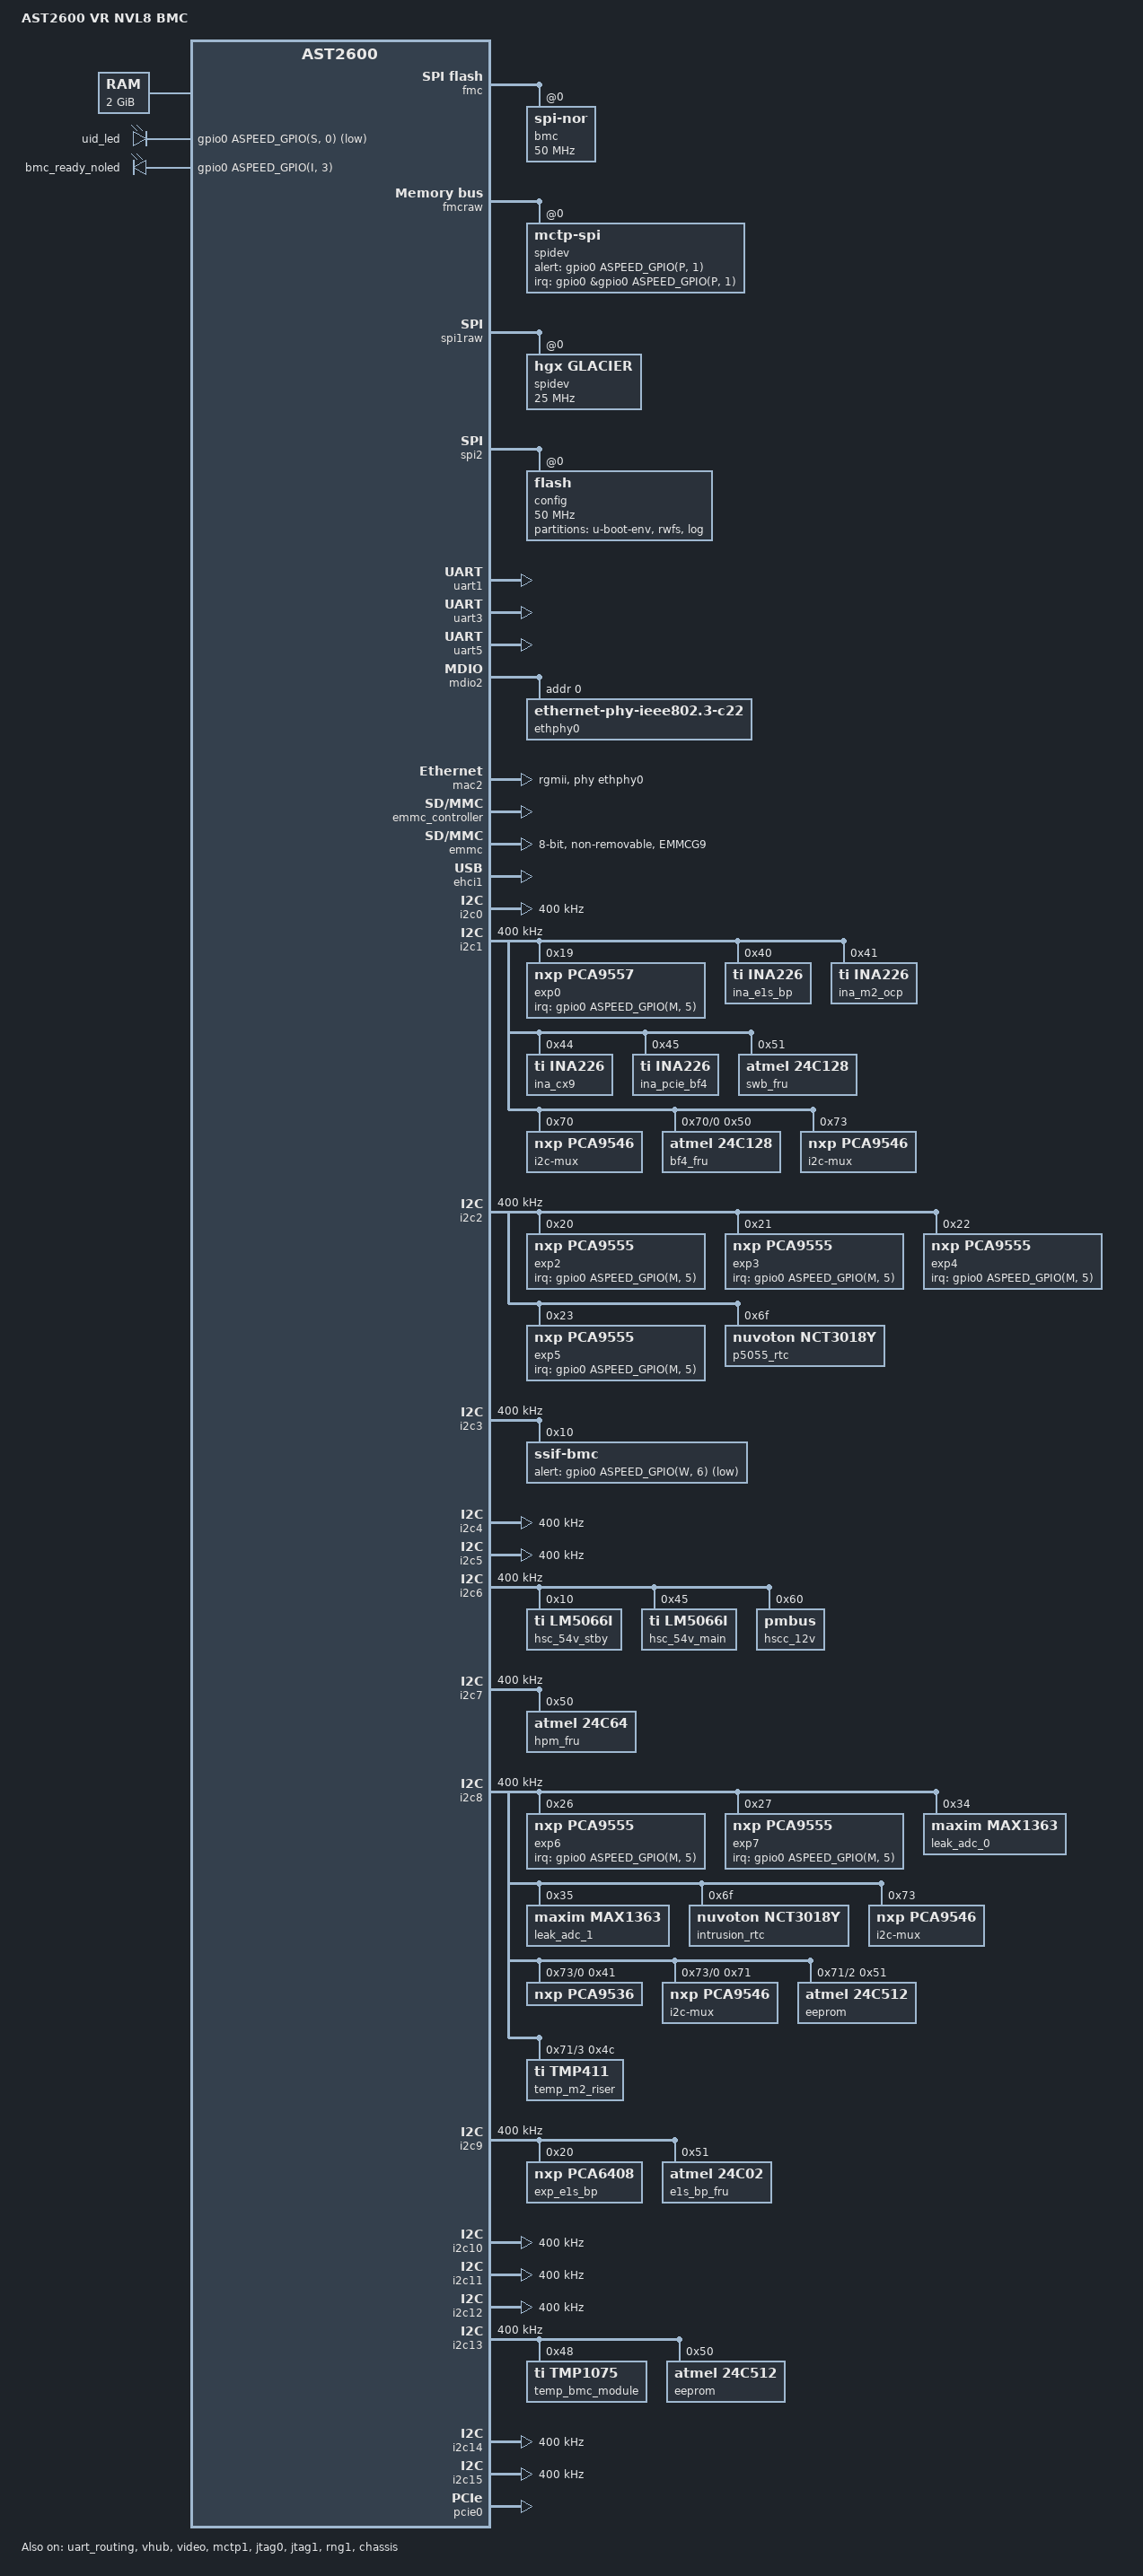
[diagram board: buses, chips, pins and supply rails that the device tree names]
// SPDX-License-Identifier: GPL-2.0+
/dts-v1/;

#include "aspeed-g6.dtsi"
#include <dt-bindings/gpio/aspeed-gpio.h>
#include <dt-bindings/i2c/i2c.h>
#include <dt-bindings/leds/common.h>

/ {
    model = "AST2600 VR NVL8 BMC";
    compatible = "aspeed,ast2600";

    aliases {
        serial2 = &uart3;
        serial4 = &uart5;

        i2c16 = &i2c_bf4_fru;            /* I2C2 (&i2c1) PCA9546 0x70 ch0: BF4 FRU */
        i2c17 = &i2c_bf4_fru_mux_ch1;    /* I2C2 (&i2c1) PCA9546 0x70 ch1: unused */
        i2c18 = &i2c_bf4_fru_mux_ch2;    /* I2C2 (&i2c1) PCA9546 0x70 ch2: unused */
        i2c19 = &i2c_bf4_fru_mux_ch3;    /* I2C2 (&i2c1) PCA9546 0x70 ch3: unused */

        i2c20 = &i2c_cx9_0_gw0;          /* I2C2 (&i2c1) PCA9546 0x73 ch0: CX9_0 GW0 */
        i2c21 = &i2c_cx9_1_gw0;          /* I2C2 (&i2c1) PCA9546 0x73 ch1: CX9_1 GW0 */
        i2c22 = &i2c_cx9_mux_ch2;        /* I2C2 (&i2c1) PCA9546 0x73 ch2: unused */
        i2c23 = &i2c_cx9_mux_ch3;        /* I2C2 (&i2c1) PCA9546 0x73 ch3: unused */

        i2c24 = &i2c_m2_riser_mgmt;      /* I2C9 (&i2c8) PCA9546 0x73 ch0: M.2 Riser cascade + PCA9536 0x41 */
        i2c25 = &i2c_i2c9_cascade_ch1;   /* I2C9 (&i2c8) PCA9546 0x73 ch1: unused */
        i2c26 = &i2c_i2c9_cascade_ch2;   /* I2C9 (&i2c8) PCA9546 0x73 ch2: unused */
        i2c27 = &i2c_cx9_rclk_buf;       /* I2C9 (&i2c8) PCA9546 0x73 ch3: LMK1104 CX9 Rclk buffer */

        i2c28 = &i2c_m2_0;               /* I2C9 (&i2c8) -> 0x73 ch0 -> 0x71 ch0: M.2 SSD_0 */
        i2c29 = &i2c_m2_1;               /* I2C9 (&i2c8) -> 0x73 ch0 -> 0x71 ch1: M.2 SSD_1 */
        i2c30 = &i2c_m2_riser_fru;       /* I2C9 (&i2c8) -> 0x73 ch0 -> 0x71 ch2: M.2 board FRU EEPROM 24512 @ 0x51 */
        i2c31 = &i2c_m2_riser_temp;      /* I2C9 (&i2c8) -> 0x73 ch0 -> 0x71 ch3: TMP411 temp sensor @ 0x4C */
    };

    chosen {
        stdout-path = &uart5;
        bootargs = "console=tty0 console=ttyS4,115200n8 earlyprintk";
    };

    memory@80000000 {
        device_type = "memory";
        reg = <0x80000000 0x80000000>;
    };

    reserved-memory {
        #address-cells = <1>;
        #size-cells = <1>;
        ranges;

        vga_memory: framebuffer@9f000000 {
            reg = <0x9f000000 0x01000000>; /* 16M */
            no-map;
        };

        ramoops@a0000000 {
            compatible = "ramoops";
            reg = <0xa0000000 0x100000>; /* 1MB */
            record-size = <0x10000>; /* 64KB */
            max-reason = <2>; /* KMSG_DUMP_OOPS */
        };

        gfx_memory: framebuffer {
            compatible = "shared-dma-pool";
            size = <0x01000000>;
            alignment = <0x01000000>;
            reusable;
        };

        video_engine_memory: jpegbuffer {
            compatible = "shared-dma-pool";
            size = <0x02000000>;	/* 32M */
            alignment = <0x01000000>;
            reusable;
        };
    };

    leds {
        compatible = "gpio-leds";

        uid_led {
            gpios = <&gpio0 ASPEED_GPIO(S, 0) GPIO_ACTIVE_LOW>;
        };

        /*
         * No physical LED. The gpio-leds driver claims BMC_READY-O so
         * userspace can drive it via /sys/class/leds/bmc_ready_noled/brightness
         * (asserted by bmc_ready.sh once platform-init completes).
         */
        bmc_ready_noled {
            gpios = <&gpio0 ASPEED_GPIO(I, 3) (GPIO_ACTIVE_HIGH | GPIO_TRANSITORY)>;
        };
    };

    buttons {
        power-btn {
            gpio = <&gpio0 ASPEED_GPIO(V, 0) GPIO_ACTIVE_LOW>;
        };

        uid-btn {
            gpio = <&gpio0 ASPEED_GPIO(E, 3) GPIO_ACTIVE_LOW>;
        };
    };
};

/*
 * gpio-line-names are the combination of <signal>-<I/O>; "" is the placeholder for unused pins.
 * 208 (26*8) 3.3V GPIOs on gpio0; 36 1.8V GPIOs on gpio1.
 */
&gpio0 {
    gpio-line-names =
        /*A0-A7*/
        "",
        "",
        "",
        "",
        "",
        "",
        "",
        "",

        /*B0-B7*/
        "",
        "",
        "BIOS_EROT_WP-O",
        "",
        "",
        "",
        "GPU_BASE_HMC_OVERT_L-I",
        "CEC2_NRESET_IN_N-O",

        /*C0-C7*/
        "",
        "",
        "",
        "",
        "",
        "",
        "",
        "",

        /*D0-D7*/
        "",
        "",
        "",
        "",
        "HPM_DETECT-I",
        "",
        "",
        "CPLD_PROG_STAT-I",

        /*E0-E7*/
        "BMC_RST_DET-I",
        "",
        "GPU_BASE_PRSNT_N-I",
        "UID_BTN_L-I", /* schematic: UID_SWITCH */
        "",
        "",
        "",
        "CPLD_INT_N-I",

        /*F0-F7*/
        "",
        "PWRGD_P3V3-I",
        "",
        "",
        "",
        "",
        "",
        "",

        /*G0-G7*/
        "HGX_LEAK_DET_L-I",
        "GPIO_GPU_BASE_RSVD3-I",
        "HGX_LEAK_SENSOR_FAULT_L-I",
        "GPIO_GPU_BASE_RSVD4-I",
        "",
        "",
        "GPU_BASE_HMC_EROT_RST_N-O",
        "GPU_ALL_BMC_TH_OVERT_N-I",

        /*H0-H7*/
        "",
        "",
        "",
        "",
        "",
        "",
        "",
        "",

        /*I0-I7*/
        "GPU_PWROK-I",
        "FRU_WP-O",
        "",
        "BMC_READY-O",
        "",
        "",
        "",
        "",

        /*J0-J7*/
        "",
        "",
        "",
        "",
        "",
        "",
        "",
        "",

        /*K0-K7*/
        "",
        "",
        "",
        "",
        "",
        "",
        "",
        "",

        /*L0-L7*/
        "",
        "",
        "",
        "",
        "FM_JTAG_TCK_MUX_SEL_R-O",
        "",
        "",
        "",

        /*M0-M7*/
        "CPU_RST_L-I",
        "",
        "",
        "CPLD_PWRBTN_N-I",
        "BMC_RST_BTN_N-I",
        "BASEBOARD_ALERT_N-I",
        "",
        "",

        /*N0-N7*/
        "CPU0_CHIPTHROT_N_SGPIO-I",
        "",
        "",
        "",
        "",
        "",
        "",
        "AC_POWER_CYCLE_N-O", /* similar to BMC_STBY_CYCLE-O on other platforms */

        /*O0-O7*/
        "",
        "",
        "GPU_BASE_HMC_PRSNT_N-I",
        "",
        "GPU_BASE_HMC_READY-I",
        "",
        "",
        "",

        /*P0-P7*/
        "BMC_PHY_RST_N-O",
        "CEC1_SP0_AP_INTR_N-I",
        "EROT_FATAL_ERROR_N-I",
        "CEC1_RST_MON_AP_RST_REQ_N-O",
        "CEC1_AP_EROT_REQ_N-O",
        "CEC1_EROT_AP_GNT_N-I",
        "",
        "",

        /*Q0-Q7*/
        "GPU_BASE_CPLD_READY-I",
        "",
        "",
        "",
        "",
        "",
        "MID_SYSTEM_READY-I",
        "RUN_POWER_PG_SGPIO-I",

        /*R0-R7*/
        "GPU1_INT_BMC_MCU2_N-I",
        "GPU1_INT_BMC_MCU1_N-I",
        "",
        "CPLD_ALERT_N-I",
        "GPU_PWR_BRAKE_L-O",
        "",
        "",
        "",

        /*S0-S7*/
        "BMC_UID_LED-O",
        "",
        "BMC_PE_WAKE_N-I",
        "",
        "",
        "",
        "BMC_HEARTBEAT-O",
        "",

        /*T0-T7*/
        "",
        "",
        "",
        "",
        "",
        "",
        "",
        "",

        /*U0-U7*/
        "",
        "",
        "",
        "",
        "",
        "",
        "",
        "",

        /*V0-V7*/
        "PWR_BTN_L-I", /* schematic: BMC_PWR_BTN_R_N */
        "",
        "",
        "BMC_CPLD_BOOT_N-I",
        "",
        "",
        "",
        "",

        /*W0-W7*/
        "",
        "",
        "",
        "",
        "",
        "",
        "I2C_BMC_SSIF_ALERT_L-O",
        "",

        /*X0-X7*/
        "",
        "",
        "SGPIO_BOOT_COMPLETE-I",
        "",
        "",
        "",
        "",
        "",

        /*Y0-Y7*/
        "",
        "",
        "CEC1_WDTRST-O",
        "PWRBTN_DISABLE-O",
        "",
        "",
        "",
        "",

        /*Z0-Z7*/
        "",
        "",
        "",
        "",
        "",
        "",
        "",
        "";
};

&gpio1 {
    gpio-line-names =
        /*A0-A7*/
        "",
        "",
        "",
        "GPU_BASE_CEC_RECOV_N-O",
        "",
        "",
        "",
        "GPU_BASE_HMC_EROT_FATALERR_N-I",

        /*B0-B7*/
        "",
        "",
        "",
        "",
        "",
        "",
        "",
        "",

        /*C0-C7*/
        "",
        "",
        "",
        "",
        "",
        "",
        "",
        "",

        /*D0-D7*/
        "",
        "",
        "",
        "",
        "",
        "",
        "",
        "",

        /*E0-E3*/
        "",
        "",
        "",
        "";
};

// EMMC group that excludes WP & CD pin
&pinctrl {
    pinctrl_emmcg9_default: emmcg9_default {
        function = "EMMC";
        groups = "EMMCG9";
    };
};

// Enabled Primary flash on FMC for bring up activity
&fmc {
    status = "okay";

    flash@0 {
        compatible = "jedec,spi-nor";
        label = "bmc";
        spi-max-frequency = <50000000>;
        status = "okay";
#include "aspeed-bmc-nvidia-gh-flash-layout-64.dtsi"
    };
};

&fmcraw {
    status = "okay";

    spidev@0 {
        compatible = "mctp-spi";
        interrupt-parent = <&gpio0>;
        interrupts = <&gpio0 ASPEED_GPIO(P, 1) GPIO_ACTIVE_HIGH>;
        alert-gpio = <&gpio0 ASPEED_GPIO(P, 1) GPIO_ACTIVE_HIGH>;
        status = "okay";
    };
};

&spi1raw {
    pinctrl-names = "default";
    pinctrl-0 = <&pinctrl_spi1_default>;
    status = "okay";

    spidev@0 {
        compatible = "hgx,glacier";
        spi-max-frequency = <25000000>;
        status = "okay";
    };
};

&spi2 {
    pinctrl-names = "default";
    pinctrl-0 = <&pinctrl_spi2_default>;
    status = "okay";

    // Data SPI is 64MB in size
    flash@0 {
        label = "config";
        spi-max-frequency = <50000000>;
        status = "okay";

        partitions {
            compatible = "fixed-partitions";
            #address-cells = <1>;
            #size-cells = <1>;

            u-boot-env@0 {
                reg = <0x0 0x40000>;            // 256KB at offset 0
                label = "u-boot-env";
            };

            rwfs@40000 {
                reg = <0x40000 0x1000000>;      // 16MB at offset 0x40000
                label = "rwfs";
            };

            log@0x1040000 {
                reg = <0x1040000 0x2800000>;    // 40MB at offset 0x1040000
                label = "log";                  // Move log to EMMC, make this unused
            };
        };
    };
};

&uart1 {
    status = "okay";
};

&uart3 {
    // Enabling SOL
    status = "okay";
};

&uart5 {
    // BMC Debug Console
    status = "okay";
};

&uart_routing {
    status = "okay";
};

// MAC3 (per schematics, 1-based MAC1-MAC4) of AST2600 connected to external PHY
// This is "mac2" in zero-based DTS
&mdio2 {
    status = "okay";

    ethphy0: ethernet-phy@0 {
        compatible = "ethernet-phy-ieee802.3-c22";
        reg = <0>;
    };
};

&mac2 {
    pinctrl-names = "default";
    pinctrl-0 = <&pinctrl_rgmii3_default>;
    phy-mode = "rgmii";
    phy-handle = <&ethphy0>;
    max-speed = <1000>;
    status = "okay";
};

// Enable emmc
&emmc_controller {
    status = "okay";
};

&emmc {
    pinctrl-0 = <&pinctrl_emmcg9_default>;
    bus-width = <8>;
    max-frequency = <52000000>;
    clk-phase-mmc-hs200 = <9>, <225>;
    non-removable;
};

/*
 * Enable USB port A as device (via the virtual hub) to host
 */
&vhub {
    pinctrl-names = "default";
    /*
     * Uncomment below line to enable internal EHCI controller.
     * Current config uses xHCI Port1.
     */
    // pinctrl-0 = <&pinctrl_usb2adp_default>;
    status = "okay";
};

&video {
    memory-region = <&video_engine_memory>;
    status = "okay";
};

// USB 2.0, BF4 NIC CP2112 GPIO bridges on USB Port B
&ehci1 {
    status = "okay";

    /*
     * BMC-side 4-port USB hub on EHCI1 root port 1.
     * Downstream ports: 1 = Secondary HPM USB HUB (fans to USB-C header,
     * HPM MCU, CP2108 SOL, and HMC via midplane), 2 = SSD/E1.S BP MCU,
     * 3 = BF4, 4 = unused.
     */
    hub@1 {
        reg = <1>;

        /* BF4 internal 4-port hub: ports 1=MCU, 2=CP2112, 3=DPU BMC, 4=unused */
        hub@3 {
            reg = <3>;

            device@2 {
                reg = <2>;

                cp2112: interface@1 {
                    reg = <1 1>;
                    gpio-controller;
                    #gpio-cells = <2>;
                    gpio-line-names =
                        "BF4_USB_MCU_RECOVERY_L-O",
                        "BF4_USB_MCU_RST_L-O",
                        "BF4_USB_FORCE_FNP_L-O",
                        "BF4_GLOBAL_WP-O",
                        "BF4_FORCE_POR_L-O",
                        "BF4_BMC_EROT_RST_L-O",
                        "BF4_BMC_EROT_RECOVERY_L-O",
                        "BF4_THERM_SHUTDOWN-I";

                    i2c_bf4: i2c {
                        #address-cells = <1>;
                        #size-cells = <0>;
                    };
                };
            };
        };
    };
};

// I2C1
&i2c0 {
    clock-frequency = <400000>;
    i2c-scl-clk-low-timeout-us = <32000>;
    i2c-tck-thddat-config = <0x0099EC00>;
    status = "okay";
};

// I2C2, SW Board IOX (PCA9557 0x19), INA226 power monitors (0x40/0x41/0x44/0x45),
//       SWB FRU EEPROM (24128 @ 0x51), PCIe clock buffers (LMKDB1104 @ 0x61/0x6C;
//       no upstream kernel driver -- documented here only),
//       BF4 FRU mux (PCA9546 0x70), CX9 management mux (PCA9546 0x73)
&i2c1 {
    clock-frequency = <400000>;
    i2c-scl-clk-low-timeout-us = <32000>;
    i2c-tck-thddat-config = <0x0099EC00>;
    status = "okay";

    // SW Board, Expander @0x19
    exp0: pca9557@19 {
        compatible = "nxp,pca9557";
        reg = <0x19>;
        #address-cells = <1>;
        #size-cells = <0>;
        gpio-controller;
        #gpio-cells = <2>;
        interrupt-controller;
        #interrupt-cells = <2>;
        interrupt-parent = <&gpio0>;
        interrupts = <ASPEED_GPIO(M, 5) IRQ_TYPE_LEVEL_LOW>;
        gpio-line-names =
            "J3MCIO_PRSNT1_N-I",
            "",
            "J9MCIO_PRSNT1_N-I",
            "",
            "USB2_HUB_RST_L-O",
            "FRU_SW_WP_N-O",
            "PCIE_PWRBRK_N-O",
            "PCIE_WAKE_N-I";
    };

    // E1.S backplane power monitor
    // TODO: shunt-resistor value TBD from HW eng; using driver default
    ina_e1s_bp: ina226@40 {
        compatible = "ti,ina226";
        reg = <0x40>;
    };

    // M.2 OCP mezz power monitor
    // TODO: shunt-resistor value TBD from HW eng
    ina_m2_ocp: ina226@41 {
        compatible = "ti,ina226";
        reg = <0x41>;
    };

    // CX9 switches power monitor
    // TODO: shunt-resistor value TBD from HW eng
    ina_cx9: ina226@44 {
        compatible = "ti,ina226";
        reg = <0x44>;
    };

    // PCIe slot (BF4) power monitor
    // TODO: shunt-resistor value TBD from HW eng
    ina_pcie_bf4: ina226@45 {
        compatible = "ti,ina226";
        reg = <0x45>;
    };

    // Switch Board FRU EEPROM (24128, 16 KB)
    swb_fru: eeprom@51 {
        compatible = "atmel,24c128";
        reg = <0x51>;
        pagesize = <64>;
    };

    // BF4 FRU mux (PCA9546 0x70 on I2C2)
    // ch0 -> BF4 FRU EEPROM; ch1/2/3 unused
    i2c-mux@70 {
        compatible = "nxp,pca9546";
        reg = <0x70>;
        #address-cells = <1>;
        #size-cells = <0>;
        i2c-mux-idle-disconnect;

        i2c_bf4_fru: i2c@0 {
            reg = <0>;
            #address-cells = <1>;
            #size-cells = <0>;

            // BF4 FRU EEPROM (24M128, 16 KB; 24c128 driver compatible)
            bf4_fru: eeprom@50 {
                compatible = "atmel,24c128";
                reg = <0x50>;
                pagesize = <64>;
            };
        };

        // ch1 unused; alias reserved for completeness
        i2c_bf4_fru_mux_ch1: i2c@1 {
            reg = <1>;
            #address-cells = <1>;
            #size-cells = <0>;
        };

        // ch2 unused; alias reserved for completeness
        i2c_bf4_fru_mux_ch2: i2c@2 {
            reg = <2>;
            #address-cells = <1>;
            #size-cells = <0>;
        };

        // ch3 unused; alias reserved for completeness
        i2c_bf4_fru_mux_ch3: i2c@3 {
            reg = <3>;
            #address-cells = <1>;
            #size-cells = <0>;
        };
    };

    // CX9 access mux (PCA9546 0x73 on I2C2)
    // ch0 -> CX9_0 GW0 @ 0x48; ch1 -> CX9_1 GW0 @ 0x48; ch2/3 unused
    // BF4 management is MCTP-over-USB and does not use an I2C mux.
    i2c-mux@73 {
        compatible = "nxp,pca9546";
        reg = <0x73>;
        #address-cells = <1>;
        #size-cells = <0>;
        i2c-mux-idle-disconnect;

        i2c_cx9_0_gw0: i2c@0 {
            reg = <0>;
            #address-cells = <1>;
            #size-cells = <0>;
            // CX9_0 GW0 endpoint at 0x48; managed by daemons, no kernel driver
        };

        i2c_cx9_1_gw0: i2c@1 {
            reg = <1>;
            #address-cells = <1>;
            #size-cells = <0>;
            // CX9_1 GW0 endpoint at 0x48; managed by daemons, no kernel driver
        };

        // ch2/ch3 unused; aliases reserved for completeness
        i2c_cx9_mux_ch2: i2c@2 {
            reg = <2>;
            #address-cells = <1>;
            #size-cells = <0>;
        };

        i2c_cx9_mux_ch3: i2c@3 {
            reg = <3>;
            #address-cells = <1>;
            #size-cells = <0>;
        };
    };
};

// I2C3, P5055 Bus 3 IOX
&i2c2 {
    clock-frequency = <400000>;
    i2c-scl-clk-low-timeout-us = <32000>;
    i2c-tck-thddat-config = <0x0099EC00>;
    status = "okay";

    // P5055 Bus 3, Expander @0x20
    exp2: pca9555@20 {
        compatible = "nxp,pca9555";
        reg = <0x20>;
        #address-cells = <1>;
        #size-cells = <0>;
        gpio-controller;
        #gpio-cells = <2>;
        interrupt-controller;
        #interrupt-cells = <2>;
        interrupt-parent = <&gpio0>;
        interrupts = <ASPEED_GPIO(M, 5) IRQ_TYPE_LEVEL_LOW>;
        gpio-line-names =
            "SHDN_FORCE_L-O",
            "",
            "THERM_OVERT_L-I",
            "THERM_WARN_L-I",
            "GLOBAL_WP-O",
            "USB_HUB0_RST_L-O",
            "PRE_SYS_RST_L-O",
            "LEAK_DETECT_ALERT_L-I",
            "RUN_POWER_EN-O",
            "RUN_POWER_PG-I",
            "CPU_CHIPTHROT_L-I",
            "SHDN_REQ_L-O",
            "CPU_SHDN_OK_L-I",
            "CPLD_READY-I",
            "PWR_BRAKE_L-O",
            "PWR_BRAKE_STATUS_L-I";
    };

    // P5055 Bus 3, Expander @0x21
    exp3: pca9555@21 {
        compatible = "nxp,pca9555";
        reg = <0x21>;
        #address-cells = <1>;
        #size-cells = <0>;
        gpio-controller;
        #gpio-cells = <2>;
        interrupt-controller;
        #interrupt-cells = <2>;
        interrupt-parent = <&gpio0>;
        interrupts = <ASPEED_GPIO(M, 5) IRQ_TYPE_LEVEL_LOW>;
        gpio-line-names =
            "",
            "HPM_MCU_OK-I",
            "CPU_L0_RST_IND_L-I",
            "SOCAMM_DAC_SEL0-O",
            "SOCAMM_DAC_SEL1-O",
            "C0_SOCAMM_I2C_SEL_R-O",
            "C1_SOCAMM_I2C_SEL_R-O",
            "EEPROM_POWER_DISABLE-O",
            "L0L1_RST_L-I",
            "L2_RST_L-I",
            "BRD_ID_0-I",
            "BRD_ID_1-I",
            "LEAK_TEST_L-O",
            "MCU_BMC_ALERT_L-I",
            "CPU_BOOT_COMPLETE-I",
            "";
    };

    // P5055 Bus 3, Expander @0x22
    exp4: pca9555@22 {
        compatible = "nxp,pca9555";
        reg = <0x22>;
        #address-cells = <1>;
        #size-cells = <0>;
        gpio-controller;
        #gpio-cells = <2>;
        interrupt-controller;
        #interrupt-cells = <2>;
        interrupt-parent = <&gpio0>;
        interrupts = <ASPEED_GPIO(M, 5) IRQ_TYPE_LEVEL_LOW>;
        gpio-line-names =
            "HPM_MCU_RESET_L-O",
            "HPM_MCU_REC_L-O",
            "HGX_MCU_RESET_L-O",
            "HGX_MCU_REC_L-O",
            "HSC_AND_HSCC_ALERT_L-I",
            "OCP1_RIS_PRSNT_L-I",
            "RTC_CLR_L-O",
            "",
            "",
            "MCU_ALERT_L-I",
            "SNN_USB_HMC_HUB_RST_L-O",
            "HGX_STBY_EN_BMC-O",
            "",
            "CPLD_AUTH_FAIL_L-I",
            "",
            "SNN_PWR_BRAKE_STATUS_L-I";
    };

    // P5055 Bus 3, Expander @0x23
    exp5: pca9555@23 {
        compatible = "nxp,pca9555";
        reg = <0x23>;
        #address-cells = <1>;
        #size-cells = <0>;
        gpio-controller;
        #gpio-cells = <2>;
        interrupt-controller;
        #interrupt-cells = <2>;
        interrupt-parent = <&gpio0>;
        interrupts = <ASPEED_GPIO(M, 5) IRQ_TYPE_LEVEL_LOW>;
        gpio-line-names =
            "CPU_FORCED_RECOVERY_L-O",
            "CPU_BOOT_DEV_SEL0-O",
            "CPU_BOOT_DEV_SEL1-O",
            "CPU_BOOT_DEV_SEL2-O",
            "",
            "CPU_RECOVERY_TYPE0-O",
            "CPU_RECOVERY_TYPE1-O",
            "CPU_IST_BOOT_HMC-O",
            "CPU_BOOT_CHAIN0-O",
            "",
            "HPM_MCU_I2C_ENABLE-O",
            "CPU_DIE_SEL0-O",
            "CPU_DIE_SEL1-O",
            "CPU_DIE_SEL2-O",
            "",
            "NVJTAG_SEL-O";
    };

    // P5055 Bus 3 RTC (NCT3018Y); 0x57 = SRAM (kernel-unbound), 0x6F = time registers
    p5055_rtc: rtc@6f {
        compatible = "nuvoton,nct3018y";
        reg = <0x6f>;
    };
};

// I2C4, SSIF channel BMC <-> CPU0
&i2c3 {
    disable-master = <1>;
    clock-frequency = <400000>;
    i2c-scl-clk-low-timeout-us = <128000>;
    i2c-tck-thddat-config = <0x0099EC00>;
    tout-baseclk-div = <4096>;
    status = "okay";

    ssif-bmc@10 {
        compatible = "ssif-bmc";
        reg = <0x10>;
        pulse_width_us = <5>;
        timeout_ms = <4995>;
        alert-gpio = <&gpio0 ASPEED_GPIO(W, 6) GPIO_ACTIVE_LOW>;
    };
};

// I2C5, routes through midplane to HMC P2312 I2C1 input
&i2c4 {
    clock-frequency = <400000>;
    i2c-scl-clk-low-timeout-us = <32000>;
    i2c-tck-thddat-config = <0x0099EC00>;
    status = "okay";
};

// I2C6, routes through midplane to HMC P2312 I2C2 input
&i2c5 {
    clock-frequency = <400000>;
    i2c-scl-clk-low-timeout-us = <32000>;
    i2c-tck-thddat-config = <0x0099EC00>;
    status = "okay";
};

// I2C7, HSCs (12V HSCC, 54V_STBY HSC, 54V_MAIN HSC) -- 3x LM5066I
&i2c6 {
    clock-frequency = <400000>;
    i2c-scl-clk-low-timeout-us = <32000>;
    i2c-tck-thddat-config = <0x0099EC00>;
    status = "okay";

    hsc_54v_stby: lm5066i@10 {
        compatible = "ti,lm5066i";
        reg = <0x10>;
    };

    hsc_54v_main: lm5066i@45 {
        compatible = "ti,lm5066i";
        reg = <0x45>;
    };

    // 12V HSCC is a Renesas RAA2280; using generic "pmbus" compatible
    // until a chip-specific driver is available upstream
    hscc_12v: hsc@60 {
        compatible = "pmbus";
        reg = <0x60>;
    };
};

// I2C8, chassis FRU 0x50, ISO/MCU MCXN556, CPLD Lattice MachX02
&i2c7 {
    clock-frequency = <400000>;
    i2c-scl-clk-low-timeout-us = <32000>;
    i2c-tck-thddat-config = <0x0099EC00>;
    status = "okay";

    // HPM FRU EEPROM (24AA64, 8 KB)
    hpm_fru: eeprom@50 {
        compatible = "atmel,24c64";
        reg = <0x50>;
        pagesize = <32>;
    };
};

// I2C9, SW Board IOX (CX0, CX1), MAX1363s, RTC, cascade parent mux (PCA9546 0x73)
&i2c8 {
    clock-frequency = <400000>;
    i2c-scl-clk-low-timeout-us = <32000>;
    i2c-tck-thddat-config = <0x0099EC00>;
    status = "okay";

    // SW Board IOX, CX0 Expander @0x26
    exp6: pca9555@26 {
        compatible = "nxp,pca9555";
        reg = <0x26>;
        #address-cells = <1>;
        #size-cells = <0>;
        gpio-controller;
        #gpio-cells = <2>;
        interrupt-controller;
        #interrupt-cells = <2>;
        interrupt-parent = <&gpio0>;
        interrupts = <ASPEED_GPIO(M, 5) IRQ_TYPE_LEVEL_LOW>;
        gpio-line-names =
            "WP_QSPI_CX0-O",
            "RST_SEQ_CX0_L-O",
            "BOOT_CMPLT_CX0-I",
            "FNP_CX0_L-O",
            "WP_FRU_CX0-O",
            "OVT_SHUTDOWN_CX0-I",
            "",
            "",
            "",
            "",
            "TMP_WARNING_CX0-I",
            "",
            "I2C_SWITCH1_RESET_L-O",
            "",
            "",
            "";
    };

    // SW Board IOX, CX1 Expander @0x27
    exp7: pca9555@27 {
        compatible = "nxp,pca9555";
        reg = <0x27>;
        #address-cells = <1>;
        #size-cells = <0>;
        gpio-controller;
        #gpio-cells = <2>;
        interrupt-controller;
        #interrupt-cells = <2>;
        interrupt-parent = <&gpio0>;
        interrupts = <ASPEED_GPIO(M, 5) IRQ_TYPE_LEVEL_LOW>;
        gpio-line-names =
            "WP_QSPI_CX1-O",
            "RST_SEQ_CX1_L-O",
            "BOOT_CMPLT_CX1-I",
            "FNP_CX1_L-O",
            "WP_FRU_CX1-O",
            "OVT_SHUTDOWN_CX1-I",
            "TMP_WARNING_CX1-I",
            "",
            "",
            "",
            "",
            "",
            "",
            "",
            "",
            "I2C_SWITCH2_RESET_L-O";
    };

    // Leak-detect ADCs (4-channel 12-bit MAX1363) on the L9 tray
    leak_adc_0: max1363@34 {
        compatible = "maxim,max1363";
        reg = <0x34>;
    };

    leak_adc_1: max1363@35 {
        compatible = "maxim,max1363";
        reg = <0x35>;
    };

    // Intrusion-detect RTC (NCT3018Y), distinct chip from the P5055 Bus 3 RTC
    intrusion_rtc: rtc@6f {
        compatible = "nuvoton,nct3018y";
        reg = <0x6f>;
    };

    // I2C9 cascade parent (PCA9546 0x73 on I2C9)
    // ch0 -> M.2 OCP Riser cascade child mux + parallel PCA9536 0x41 GPIO expander
    // ch1/ch2 unused; ch3 -> LMK1104 clock buffer (CX9 Rclk)
    i2c-mux@73 {
        compatible = "nxp,pca9546";
        reg = <0x73>;
        #address-cells = <1>;
        #size-cells = <0>;
        i2c-mux-idle-disconnect;

        i2c_m2_riser_mgmt: i2c@0 {
            reg = <0>;
            #address-cells = <1>;
            #size-cells = <0>;

            // PCA9536 4-bit GPIO expander, parallel to the M.2 cascade mux on this virtual bus.
            // Only bit 0 is connected; bits 1-3 are unused.
            pca9536@41 {
                compatible = "nxp,pca9536";
                reg = <0x41>;
                gpio-controller;
                #gpio-cells = <2>;
                gpio-line-names = "M2_FRU_WP_EN-O", "", "", "";
            };

            // M.2 OCP Riser cascade mux (PCA9546 0x71)
            i2c-mux@71 {
                compatible = "nxp,pca9546";
                reg = <0x71>;
                #address-cells = <1>;
                #size-cells = <0>;
                i2c-mux-idle-disconnect;

                // ch0 -> M.2 SSD_0; NVMe-MI device, no kernel driver
                i2c_m2_0: i2c@0 {
                    reg = <0>;
                    #address-cells = <1>;
                    #size-cells = <0>;
                };

                // ch1 -> M.2 SSD_1; NVMe-MI device, no kernel driver
                i2c_m2_1: i2c@1 {
                    reg = <1>;
                    #address-cells = <1>;
                    #size-cells = <0>;
                };

                // ch2 -> M.2 board FRU EEPROM (24512, 64 KB)
                i2c_m2_riser_fru: i2c@2 {
                    reg = <2>;
                    #address-cells = <1>;
                    #size-cells = <0>;

                    eeprom@51 {
                        compatible = "atmel,24c512";
                        reg = <0x51>;
                        pagesize = <128>;
                    };
                };

                // ch3 -> M.2 board temperature sensor (TMP411)
                i2c_m2_riser_temp: i2c@3 {
                    reg = <3>;
                    #address-cells = <1>;
                    #size-cells = <0>;

                    temp_m2_riser: tmp411@4c {
                        compatible = "ti,tmp411";
                        reg = <0x4c>;
                    };
                };
            };
        };

        // ch1/ch2 unused; aliases reserved for completeness
        i2c_i2c9_cascade_ch1: i2c@1 {
            reg = <1>;
            #address-cells = <1>;
            #size-cells = <0>;
        };

        i2c_i2c9_cascade_ch2: i2c@2 {
            reg = <2>;
            #address-cells = <1>;
            #size-cells = <0>;
        };

        // ch3 -> LMK1104 clock buffer (CX9 Rclk); managed by daemons, no kernel driver
        i2c_cx9_rclk_buf: i2c@3 {
            reg = <3>;
            #address-cells = <1>;
            #size-cells = <0>;
        };
    };
};

// I2C10, E1.S backplane (IOX, FRU, MCU)
&i2c9 {
    clock-frequency = <400000>;
    i2c-scl-clk-low-timeout-us = <32000>;
    i2c-tck-thddat-config = <0x0099EC00>;
    status = "okay";

    // E1.S BP IO Expander -- MCU reset/recovery + SSD PERST force-control.
    exp_e1s_bp: pca6408@20 {
        compatible = "nxp,pca6408";
        reg = <0x20>;
        gpio-controller;
        #gpio-cells = <2>;
        gpio-line-names =
            "E1S_MCU_RST_L-O",
            "E1S_MCU_RECOVERY_L-O",
            "",
            "",
            "",
            "",
            "SSD_03_FORCE_PERST-O",
            "SSD_47_FORCE_PERST-O";
    };

    // E1.S BP FRU EEPROM (34C02, 256 bytes; 24c02 driver compatible)
    e1s_bp_fru: eeprom@51 {
        compatible = "atmel,24c02";
        reg = <0x51>;
        pagesize = <8>;
    };
};

// I2C11
&i2c10 {
    clock-frequency = <400000>;
    i2c-scl-clk-low-timeout-us = <32000>;
    i2c-tck-thddat-config = <0x0099EC00>;
    status = "okay";
};

// I2C12, pass-through to HGX Baseboard (no local device on P5055)
&i2c11 {
    clock-frequency = <400000>;
    i2c-scl-clk-low-timeout-us = <32000>;
    i2c-tck-thddat-config = <0x0099EC00>;
    status = "okay";
};

// I2C13, pass-through to HGX Baseboard (no local device on P5055)
&i2c12 {
    clock-frequency = <400000>;
    i2c-scl-clk-low-timeout-us = <32000>;
    i2c-tck-thddat-config = <0x0099EC00>;
    status = "okay";
};

// I2C14, DC-SCM cluster (TMP1075, BMC DC-SCM FRU 0x50, EROT, Intel i210, CPLD)
&i2c13 {
    clock-frequency = <400000>;
    i2c-scl-clk-low-timeout-us = <32000>;
    i2c-tck-thddat-config = <0x0099EC00>;
    status = "okay";

    // BMC module temperature sensor
    temp_bmc_module: tmp1075@48 {
        compatible = "ti,tmp1075";
        reg = <0x48>;
    };

    // BMC DC-SCM FRU EEPROM (24512, 64 KB)
    eeprom@50 {
        compatible = "atmel,24c512";
        reg = <0x50>;
        pagesize = <128>;
    };
};

// I2C15
&i2c14 {
    clock-frequency = <400000>;
    i2c-scl-clk-low-timeout-us = <32000>;
    i2c-tck-thddat-config = <0x0099EC00>;
    status = "okay";
};

// I2C16
&i2c15 {
    clock-frequency = <400000>;
    i2c-scl-clk-low-timeout-us = <32000>;
    i2c-tck-thddat-config = <0x0099EC00>;
    status = "okay";
};

// PCIe RC
&pcie0 {
    interrupts = <GIC_SPI 168 IRQ_TYPE_LEVEL_HIGH>;
    status = "okay";
};

&mctp1 {
    status = "okay";
};

&jtag0 {
    status = "okay";
};

&jtag1 {
    status = "okay";
};

&rng1 {
    status = "okay";
};

&chassis {
    status = "okay";
};
